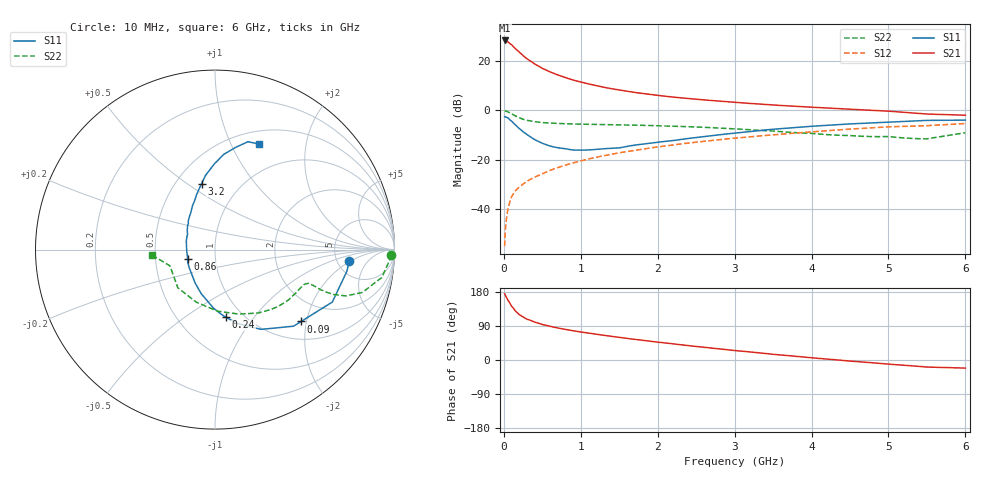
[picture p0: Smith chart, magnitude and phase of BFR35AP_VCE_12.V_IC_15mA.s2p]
! Infineon Technologies  Discrete & RF Semiconductors
! BFR35AP
! VCE =  12. V,  IC =  15 mA
! Common Emitter S-Parameters:  Nov 2015
# GHz  S  MA  R  50
!  f  S11  S21  S12  S22
! GHz  MAG  ANG  MAG  ANG  MAG  ANG  MAG  ANG
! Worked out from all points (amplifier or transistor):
!   210 points, 10 MHz to 6 GHz, reference 50 ohm
!   highest |S21| = 28.3 dB at 10 MHz (marker M1)
!   |S21| within 3 dB of that: start of sweep to 140.5 MHz
!   unconditionally stable (mu >= 1): 537.6 MHz to 2.655 GHz
!   at 185 MHz: K = 0.61, MSG = 27.7 dB, |S12| = -31.4 dB
!   at 1.52 GHz: K = 1.08, MAG = 10.8 dB, |S12| = -17.0 dB
!   at 6 GHz: K = 0.86, MSG = 1.7 dB, |S12| = -5.3 dB
!   S11 on the Smith chart (normalised r, x): 10 MHz: 6.50, -1.88; 90 MHz: 1.42, -1.86; 240 MHz: 0.83, -0.74; 860 MHz: 0.73, -0.08; 3.2 GHz: 0.67, +0.57; 6 GHz: 0.65, +1.29
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0.01  0.7516 -4.8  26.01 174.8  0.0018 87.7  0.9831 -1.8
0.025  0.7364 -11.8  25.21 168.9  0.0048 81.7  0.966 -4.9
0.05  0.716 -24.1  24.58 159.0  0.0094 77.6  0.9422 -9.5
0.09  0.6253 -39.8  21.87 145.9  0.0162 72.2  0.8715 -14.8
0.1  0.6112 -44.3  21.4 142.2  0.0179 71.5  0.8551 -16.2
0.15  0.5125 -60.1  17.81 129.1  0.0237 65.9  0.7738 -19.5
0.2  0.4306 -73.0  15.1 119.8  0.0282 65.2  0.71 -20.7
0.24  0.3821 -80.8  13.27 114.5  0.0316 64.7  0.6719 -20.9
0.3  0.3261 -91.5  11.1 107.7  0.0368 65.5  0.6324 -20.8
0.4  0.2575 -107.3  8.728 100.1  0.0447 66.2  0.5926 -20.2
0.5  0.2169 -120.6  7.107 93.6  0.0522 67.4  0.5679 -19.8
0.6  0.1909 -131.8  6.021 88.8  0.0613 68.2  0.555 -19.8
0.7  0.1765 -144.0  5.233 84.5  0.0698 68.7  0.5458 -20.3
0.86  0.1616 -160.4  4.309 78.6  0.0834 68.4  0.5348 -21.2
1.02  0.1577 -176.8  3.684 73.4  0.0971 68.1  0.5279 -22.6
1.4  0.1726 154.9  2.747 62.4  0.1299 66.5  0.5145 -27.1
2.02  0.2297 128.9  1.999 46.7  0.1847 61.9  0.4897 -36.4
3.1  0.3612 103.2  1.422 23.2  0.2838 51.7  0.4163 -58.4
3.2  0.3747 101.5  1.386 21.3  0.293 50.5  0.4066 -61.1
4.1  0.4889 89.1  1.141 4.1  0.3789 40.6  0.333 -91.8
5.1  0.5893 77.5  0.942 -12.3  0.4705 26.8  0.2864 -138.9
6  0.6372 67.2  0.801 -21.4  0.544 15.9  0.3546 -175.4
